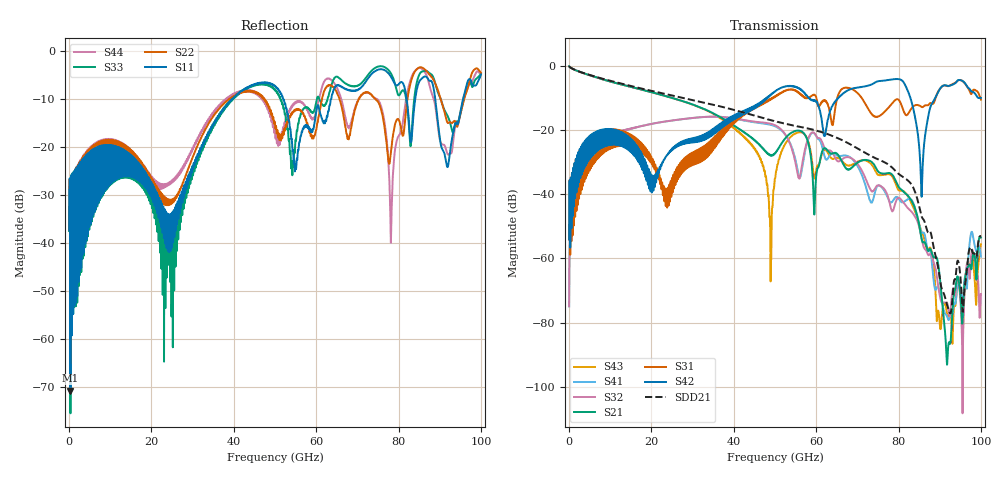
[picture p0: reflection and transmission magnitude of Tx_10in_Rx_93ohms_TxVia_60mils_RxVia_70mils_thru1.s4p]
! Info: Touchstone file created by Circ.  Input file=Tx_10in_Rx_93ohms_TxVia_60mils_RxVia_70mils.circ
# Hz S RI R 50
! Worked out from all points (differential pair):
!   10000 points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, 10 MHz to 100 GHz, reference 50 ohm
!   strongest paths, dB at 10 MHz, 25.01 GHz, 50.01 GHz, 75.01 GHz, 100 GHz:
!     S42: -54.1, -25.8, -7.9, -4.8, -10.0
!     S31: -54.1, -35.0, -9.5, -15.9, -10.5
!     S21: -0.1, -10.0, -27.2, -32.8, -53.5
!     S32: -74.9, -17.0, -18.5, -37.2, -71.1
!     S41: -74.9, -17.0, -18.9, -37.3, -59.4
!     S43: -0.1, -10.0, -35.1, -33.9, -55.6
!   taken as a pair (ports 1,3 in; 2,4 out), SDD21 dB: -0.1, -9.3, -17.2, -29.1, -53.1
!   lowest |S11| = -70.8 dB at 330 MHz (marker M1), VSWR 1.00, Z = 50 - j0.0167 ohm
!   |S11| at or under -10 dB: start of sweep to 39.66 GHz; 51.96 GHz to 63.68 GHz (11.72 GHz wide, 20.3 % of centre); 88.91 GHz to 95.7 GHz (6.794 GHz wide, 7.36 % of centre) (the widest 3 of 4)
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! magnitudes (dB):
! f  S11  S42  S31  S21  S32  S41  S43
! 10 MHz  -37.4  -54.1  -54.1  -0.1  -74.9  -74.9  -0.1
! 330 MHz  -70.8  -40.3  -40.3  -0.5  -45.9  -45.9  -0.5
! 48.34 GHz  -6.7  -9.8  -10.9  -27.4  -17.9  -18.2  -40.6
! 78.02 GHz  -5.2  -4.3  -12.4  -33.5  -43.7  -42.5  -33.9
! 85.58 GHz  -5.9  -40.6  -12.8  -53.9  -53.7  -51.9  -51.7
! 91.56 GHz  -23.2  -6.1  -6.2  -88.1  -73.7  -77.5  -75.3
! 100 GHz  -5.0  -10.0  -10.5  -53.5  -71.1  -59.4  -55.6
